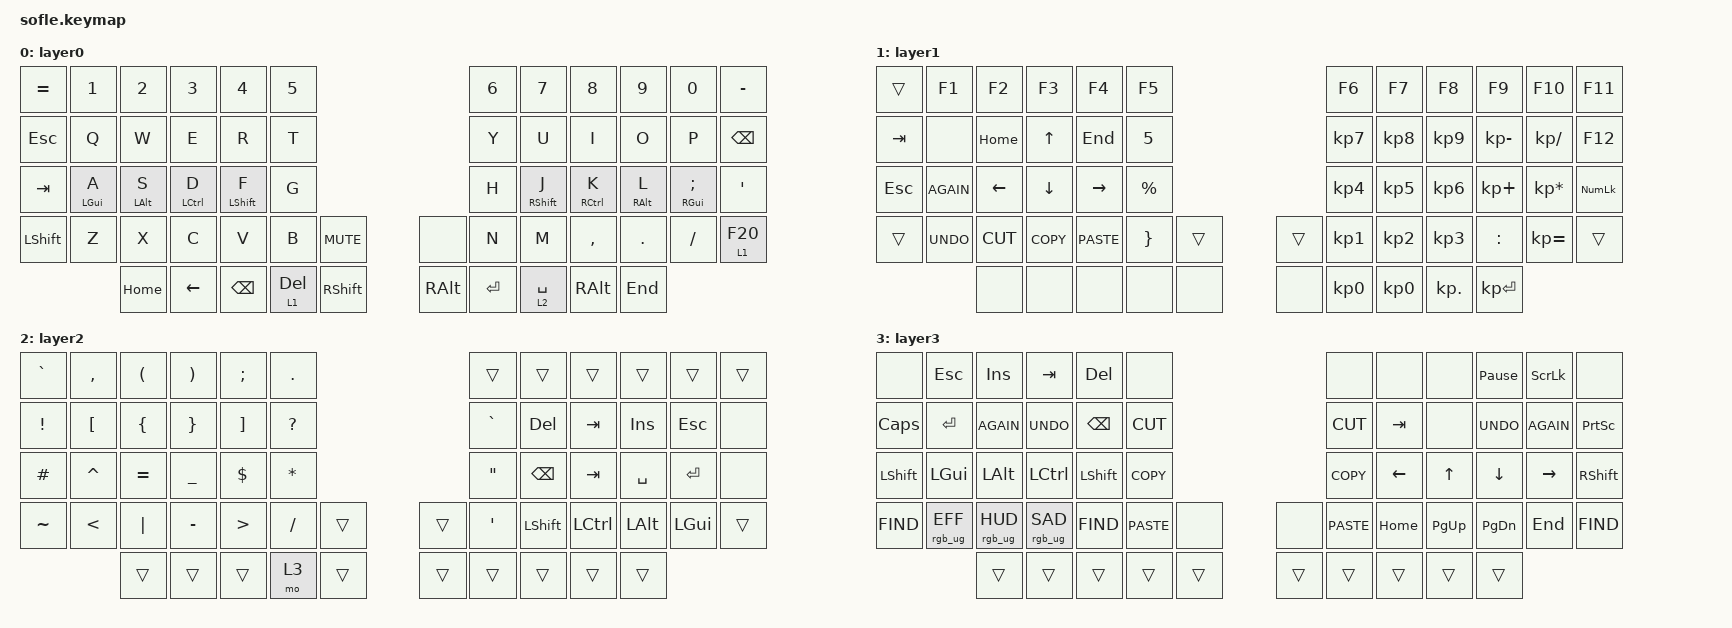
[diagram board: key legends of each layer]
/*
* Copyright (c) 2020 The ZMK Contributors
*
* SPDX-License-Identifier: MIT
*/

#include <behaviors.dtsi>
#include <dt-bindings/zmk/keys.h>
#include <dt-bindings/zmk/bt.h>
#include <dt-bindings/zmk/ext_power.h>
#include <dt-bindings/zmk/rgb.h> 

/ {
    keymap {
        compatible = "zmk,keymap";

        layer0 {
            bindings = <
            &kp EQUAL &kp N1 &kp N2 &kp N3 &kp N4 &kp N5       &kp N6 &kp N7 &kp N8 &kp N9 &kp N0 &kp MINUS
            &kp ESC   &kp Q  &kp W  &kp E  &kp R  &kp T        &kp Y  &kp U  &kp I  &kp O  &kp P  &kp BSPC
            &kp TAB   &mt LGUI A &mt LALT S &mt LCTRL D &mt LSHFT F &kp G       &kp H  &mt RSHFT J &mt RCTRL K &mt RALT L &mt RGUI SEMI &kp SQT
            &kp LSHFT &kp Z  &kp X  &kp C  &kp V  &kp B  &kp C_MUTE       &none  &kp N  &kp M  &kp COMMA &kp DOT &kp SLASH &lt 1 F20
            &kp HOME  &kp LEFT &kp BSPC &lt 1 DEL &kp RSHFT       &kp RALT &kp RET &lt 2 SPACE &kp RALT &kp END
            >;
        };

        layer1 {
            bindings = <
            &trans  &kp F1 &kp F2 &kp F3 &kp F4 &kp F5       &kp F6 &kp F7 &kp F8 &kp F9 &kp F10 &kp F11
            &kp TAB &none  &kp HOME &kp UP &kp END &kp N5       &kp KP_N7 &kp KP_N8 &kp KP_N9 &kp KP_MINUS &kp KP_DIVIDE &kp F12
            &kp ESC &kp K_AGAIN &kp LEFT &kp DOWN &kp RIGHT &kp PRCNT       &kp KP_N4 &kp KP_N5 &kp KP_N6 &kp KP_PLUS &kp KP_MULTIPLY &kp KP_NUM
            &trans  &kp K_UNDO &kp K_CUT &kp K_COPY &kp K_PASTE &kp RBRC &trans       &trans &kp KP_N1 &kp KP_N2 &kp KP_N3 &kp COLON &kp KP_EQUAL &trans
            &none   &none  &none  &none  &none             &none  &kp KP_N0 &kp KP_N0 &kp KP_DOT &kp KP_ENTER
            >;
        };

        layer2 {
            bindings = <
            &kp GRAVE &kp COMMA &kp LPAR &kp RPAR &kp SEMI &kp DOT       &trans &trans &trans &trans &trans &trans
            &kp EXCL &kp LBKT &kp LBRC &kp RBRC &kp RBKT &kp QMARK       &kp GRAVE &kp DEL &kp TAB &kp INS &kp ESC &none
            &kp HASH &kp CARET &kp EQUAL &kp UNDER &kp DLLR &kp STAR       &kp DQT &kp BSPC &kp TAB &kp SPACE &kp RET &none
            &kp TILDE &kp LT &kp PIPE &kp MINUS &kp GT &kp SLASH &trans       &trans &kp SQT &kp LSHFT &kp LCTRL &kp LALT &kp LGUI &trans
            &trans &trans &trans &mo 3 &trans             &trans &trans &trans &trans &trans
            >;
        };

        layer3 {
            bindings = <
            &none &kp ESC &kp INS &kp TAB &kp DEL &none       &none &none &none &kp PAUSE_BREAK &kp SLCK &none
            &kp CAPS &kp RET &kp K_AGAIN &kp K_UNDO &kp BSPC &kp K_CUT       &kp K_CUT &kp TAB &none &kp K_UNDO &kp K_AGAIN &kp PSCRN
            &kp LSHFT &kp LGUI &kp LALT &kp LCTRL &kp LSHFT &kp K_COPY       &kp K_COPY &kp LEFT &kp UP &kp DOWN &kp RIGHT &kp RSHFT
            &kp K_FIND &rgb_ug RGB_EFF &rgb_ug RGB_HUD &rgb_ug RGB_SAD &kp K_FIND &kp K_PASTE &none       &none &kp K_PASTE &kp HOME &kp PG_UP &kp PG_DN &kp END &kp K_FIND
            &trans &trans &trans &trans &trans             &trans &trans &trans &trans &trans
            >;
        };
    };
};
